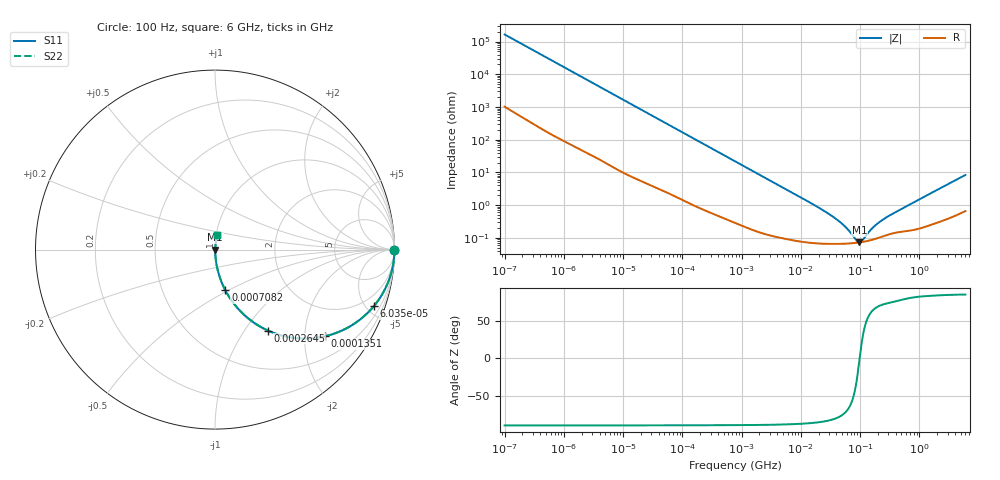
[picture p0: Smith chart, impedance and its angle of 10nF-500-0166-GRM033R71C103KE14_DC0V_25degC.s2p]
!Murata Part Number: GRM033R71C103KE14
!These Parameters are Measured in Series Mode Connection
!  o--ll--o
!Port1  Port2
!  o------o
!Operation Temp=25[degC], DC Bias Voltage=0[V]
!Freq. Start=100[Hz] Stop=6[GHz], 401[Steps]
!Data Generated on Nov 6, 2018
# Hz S RI R 50
!Freq.(Hz) S11(Real) S11(Imag) S21(Real) S21(Imag) S12(Real) S12(Imag) S22(Real) S22(Imag)
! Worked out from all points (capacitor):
!   401 points, 100 Hz to 6 GHz, reference 50 ohm
!   read as one part in series: C = 9.64 nF near 109.4 Hz
!   lowest |Z| = 72.5 mohm at 97.54 MHz (marker M1)
!   series resonance near 98.34 MHz, so ESL is about 270 pH
!   S11 on the Smith chart (normalised r, x): 100 Hz: open; 60.35 kHz: 1.04, -5.60; 135.1 kHz: 1.02, -2.51; 264.5 kHz: 1.01, -1.29; 708.2 kHz: 1.01, -0.48; 6 GHz: 1.01, +0.17
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100  1 -0.000606  4.13e-06 0.000606  4.13e-06 0.000606  1 -0.000606
2008.354  0.9998 -0.012  0.000214 0.012  0.000214 0.012  0.9998 -0.012
12040.8  0.9945 -0.0713  0.00554 0.0713  0.00554 0.0713  0.9945 -0.0713
40334.87  0.9444 -0.2255  0.0556 0.2255  0.0556 0.2255  0.9444 -0.2255
60351.64  0.8849 -0.3152  0.1151 0.3152  0.1151 0.3152  0.8849 -0.3152
90302.02  0.7766 -0.4124  0.2234 0.4124  0.2234 0.4124  0.7766 -0.4124
135115.7  0.6109 -0.4832  0.3891 0.4832  0.3891 0.4832  0.6109 -0.4832
184851.7  0.4584 -0.4937  0.5416 0.4937  0.5416 0.4937  0.4584 -0.4937
264476.2  0.2948 -0.451  0.7052 0.451  0.7052 0.451  0.2948 -0.451
413847.5  0.1482 -0.3498  0.8518 0.3498  0.8518 0.3498  0.1482 -0.3498
708247.2  0.0578 -0.2272  0.9422 0.2272  0.9422 0.2272  0.0578 -0.2272
774596.7  0.0492 -0.2098  0.9508 0.2098  0.9508 0.2098  0.0492 -0.2098
2594782  0.00566 -0.0661  0.9943 0.0661  0.9943 0.0661  0.00566 -0.0661
1.555665e7  0.000814 -0.0109  0.9992 0.0109  0.9992 0.0109  0.000814 -0.0109
4.35672e7  0.000664 -0.00322  0.9993 0.00322  0.9993 0.00322  0.000664 -0.00322
5.960426e7  0.00067 -0.00185  0.9993 0.00185  0.9993 0.00185  0.00067 -0.00185
8.527865e7  0.000702 -0.000503  0.9993 0.000503  0.9993 0.000503  0.000702 -0.000503
9.753859e7  0.000724 -2.81e-05  0.9993 2.81e-05  0.9993 2.81e-05  0.000724 -2.81e-05
1.115611e8  0.000753 0.000443  0.9992 -0.000443  0.9992 -0.000443  0.000753 0.000443
1.825626e8  0.000939 0.00225  0.9991 -0.00225  0.9991 -0.00225  0.000939 0.00225
3.124326e8  0.0013 0.0046  0.9987 -0.0046  0.9987 -0.0046  0.0013 0.0046
6e9  0.0133 0.0818  0.9867 -0.0818  0.9867 -0.0818  0.0133 0.0818
